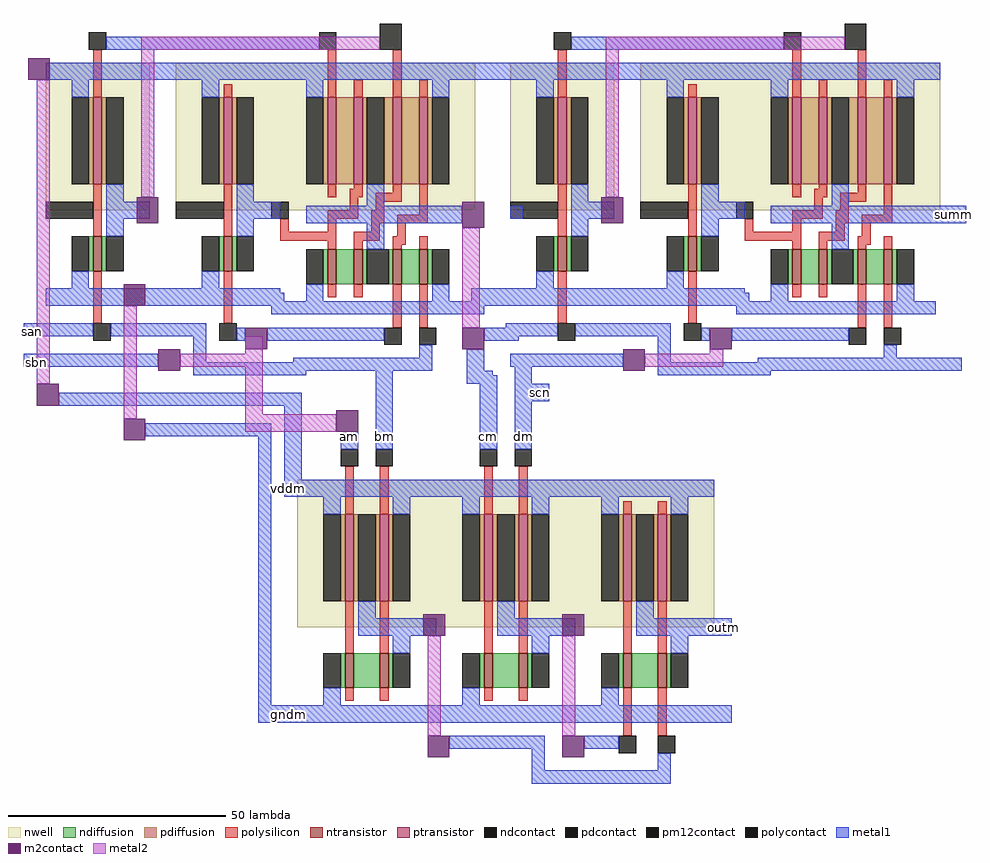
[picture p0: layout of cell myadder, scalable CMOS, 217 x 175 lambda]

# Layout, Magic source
magic
tech scmos
<< polysilicon >>
rect -21 51 -19 59
rect -13 51 -11 59
rect 11 51 13 59
rect 19 51 21 59
rect 43 -3 45 8
rect 51 -3 53 8
<< polycontact >>
rect -22 59 -18 63
rect -14 59 -10 63
rect 10 59 14 63
rect 18 59 22 63
rect 42 -7 46 -3
rect 51 -7 55 -3
<< metal1 >>
rect -89 148 -87 152
rect 8 148 21 152
rect 3 115 6 119
rect 17 116 20 119
rect 110 115 122 119
rect 8 96 19 100
rect 8 94 11 96
rect -95 89 -87 92
rect 16 91 18 92
rect 11 88 19 91
rect -95 82 -87 85
rect -87 73 -31 76
rect -67 66 -38 69
rect -41 4 -38 66
rect -35 56 -31 73
rect -22 63 -18 67
rect -14 63 -10 84
rect 7 81 11 86
rect 7 80 13 81
rect 7 78 14 80
rect 10 63 14 78
rect 18 78 22 85
rect 106 81 121 84
rect 18 74 26 78
rect 18 63 22 74
rect -35 52 -28 56
rect 61 20 68 24
rect -41 0 -28 4
rect 61 0 68 4
rect 3 -6 25 -3
rect 22 -11 25 -6
rect 34 -6 42 -3
rect 51 -11 54 -7
rect 22 -14 54 -11
<< m2contact >>
rect -94 148 -89 153
rect 6 114 11 120
rect -72 96 -67 101
rect 6 86 11 91
rect -92 73 -87 78
rect -72 65 -67 70
rect -23 67 -18 72
rect -3 20 2 25
rect 29 20 34 25
rect -2 -8 3 -3
rect 29 -8 34 -3
<< metal2 >>
rect -92 78 -89 148
rect -72 70 -69 96
rect 6 91 10 114
rect -44 71 -40 89
rect -44 67 -23 71
rect -2 -3 1 20
rect 29 -3 32 20
use xorr  xorr_1
transform 1 0 -28 0 1 110
box -62 -30 37 51
use xorr  xorr_0
transform 1 0 79 0 1 110
box -62 -30 37 51
use nand2  nand2_2
transform 1 0 -24 0 1 14
box -8 -14 24 42
use nand2  nand2_0
transform 1 0 8 0 1 14
box -8 -14 24 42
use nand2  nand2_1
transform 1 0 40 0 1 14
box -8 -14 24 42
<< labels >>
rlabel metal1 -34 54 -34 54 4 vddm
rlabel metal1 -34 2 -34 2 2 gndm
rlabel metal1 -20 66 -20 66 5 am
rlabel metal1 -12 66 -12 66 5 bm
rlabel metal1 12 66 12 66 5 cm
rlabel metal1 20 66 20 66 5 dm
rlabel metal1 66 22 66 22 7 outm
rlabel metal1 119 117 119 117 7 summ
rlabel metal1 -93 90 -93 90 3 san
rlabel metal1 -92 83 -92 83 3 sbn
rlabel metal1 24 76 24 76 1 scn
<< end >>

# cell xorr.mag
magic
tech scmos
<< nwell >>
rect -8 19 37 42
rect -9 14 37 19
rect -11 8 37 14
<< ntransistor >>
rect 3 -9 5 -1
rect 9 -9 11 -1
rect 18 -9 20 -1
rect 24 -9 26 -1
<< ptransistor >>
rect 3 14 5 34
rect 9 14 11 34
rect 18 14 20 34
rect 24 14 26 34
<< ndiffusion >>
rect 2 -9 3 -1
rect 5 -9 9 -1
rect 11 -9 12 -1
rect 17 -9 18 -1
rect 20 -9 24 -1
rect 26 -9 27 -1
<< pdiffusion >>
rect 2 14 3 34
rect 5 14 9 34
rect 11 14 12 34
rect 16 14 18 34
rect 20 14 24 34
rect 26 14 27 34
<< ndcontact >>
rect -2 -9 2 -1
rect 12 -9 17 -1
rect 27 -9 31 -1
<< pdcontact >>
rect -2 14 2 34
rect 12 14 16 34
rect 27 14 31 34
<< polysilicon >>
rect -51 37 -49 45
rect 3 34 5 45
rect 9 34 11 38
rect 18 34 20 45
rect 24 34 26 38
rect 3 11 5 14
rect 9 13 11 14
rect 8 11 11 13
rect 18 12 20 14
rect 8 8 10 11
rect 14 10 20 12
rect 14 8 16 10
rect -8 3 -6 6
rect 3 6 10 8
rect 3 3 5 6
rect 13 5 16 8
rect 24 7 26 14
rect 19 5 26 7
rect 13 3 15 5
rect -8 1 5 3
rect 3 -1 5 1
rect 9 1 15 3
rect 19 2 21 5
rect 9 -1 11 1
rect 18 0 21 2
rect 18 -1 20 0
rect 24 -1 26 2
rect -51 -18 -49 -7
rect -21 -18 -19 -7
rect 3 -12 5 -9
rect 9 -12 11 -9
rect 18 -19 20 -9
rect 24 -19 26 -9
<< polycontact >>
rect -52 45 -48 49
rect 1 45 5 49
rect -10 6 -6 10
rect -51 -22 -47 -18
rect -22 -22 -18 -18
rect 16 -23 20 -19
rect 24 -23 28 -19
<< metal1 >>
rect -48 45 1 48
rect -38 38 -31 42
rect -8 38 37 42
rect -2 34 2 38
rect 27 34 31 38
rect 12 9 16 14
rect -2 5 31 9
rect 12 -1 16 5
rect -38 -14 -31 -10
rect -10 -13 -7 -11
rect -2 -13 2 -9
rect 27 -13 31 -9
rect -10 -16 36 -13
rect -62 -21 -51 -18
rect -47 -21 -25 -18
rect -62 -28 -36 -25
rect -28 -27 -25 -21
rect -18 -22 -16 -19
rect -11 -22 16 -19
rect 24 -26 27 -23
rect -5 -27 27 -26
rect -28 -29 27 -27
rect -28 -30 -2 -29
<< m2contact >>
rect -41 5 -36 11
rect -36 -29 -31 -24
rect -16 -24 -11 -19
<< pm12contact >>
rect 15 45 20 51
<< metal2 >>
rect -40 45 15 48
rect -40 11 -37 45
rect -16 -25 -13 -24
rect -31 -28 -13 -25
use inv_bt  inv_bt_1
transform 1 0 -54 0 1 0
box -8 -14 16 42
use inv_bt  inv_bt_0
transform 1 0 -24 0 1 0
box -8 -14 16 42
<< labels >>
rlabel metal1 0 39 0 39 5 vdd
rlabel metal1 4 -15 4 -15 1 gnd
rlabel metal1 -2 -20 -2 -20 1 bbb
rlabel metal1 30 7 30 7 1 ccc
rlabel metal1 -47 47 -47 47 1 aaa
<< end >>

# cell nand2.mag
magic
tech scmos
<< nwell >>
rect -8 8 24 42
<< ntransistor >>
rect 3 -6 5 2
rect 11 -6 13 2
<< ptransistor >>
rect 3 14 5 34
rect 11 14 13 34
<< ndiffusion >>
rect 2 -6 3 2
rect 5 -6 11 2
rect 13 -6 14 2
<< pdiffusion >>
rect 2 14 3 34
rect 5 14 6 34
rect 10 14 11 34
rect 13 14 14 34
<< ndcontact >>
rect -2 -6 2 2
rect 14 -6 18 2
<< pdcontact >>
rect -2 14 2 34
rect 6 14 10 34
rect 14 14 18 34
<< polysilicon >>
rect 3 34 5 37
rect 11 34 13 37
rect 3 2 5 14
rect 11 2 13 14
rect 3 -9 5 -6
rect 11 -9 13 -6
<< metal1 >>
rect -8 38 24 42
rect -2 34 2 38
rect 14 34 18 38
rect 6 10 10 14
rect 6 6 24 10
rect 14 2 18 6
rect -2 -10 2 -6
rect -8 -14 24 -10
<< labels >>
rlabel metal1 0 39 0 39 5 vdd
rlabel metal1 4 -12 4 -12 1 gnd
rlabel polysilicon 4 36 4 36 1 a
rlabel polysilicon 12 36 12 36 1 b
rlabel metal1 22 8 22 8 7 out
<< end >>

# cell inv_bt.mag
magic
tech scmos
<< nwell >>
rect -8 8 16 42
<< ntransistor >>
rect 3 -6 5 2
<< ptransistor >>
rect 3 14 5 34
<< ndiffusion >>
rect 2 -6 3 2
rect 5 -6 6 2
<< pdiffusion >>
rect 2 14 3 34
rect 5 14 6 34
<< ndcontact >>
rect -2 -6 2 2
rect 6 -6 10 2
<< pdcontact >>
rect -2 14 2 34
rect 6 14 10 34
<< polysilicon >>
rect 3 34 5 37
rect 3 2 5 14
rect 3 -9 5 -6
<< polycontact >>
rect -8 6 3 10
<< metal1 >>
rect -8 38 16 42
rect -2 34 2 38
rect 6 10 10 14
rect 6 6 16 10
rect 6 2 10 6
rect -2 -10 2 -6
rect -8 -14 16 -10
<< labels >>
rlabel metal1 0 39 0 39 5 vdd
rlabel polycontact 0 8 0 8 1 a
rlabel metal1 12 8 12 8 7 y
rlabel metal1 4 -12 4 -12 1 gnd
<< end >>
